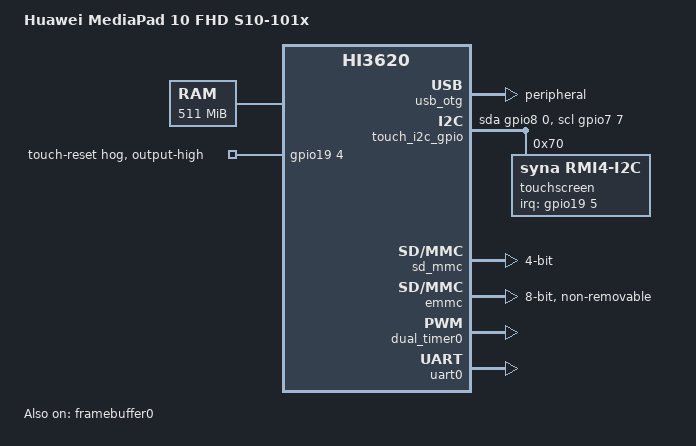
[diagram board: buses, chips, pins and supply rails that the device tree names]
/*
 * Huawei MediaPad 10 FHD S10-101x
 *
 * Initial Linux bring-up device tree for the HiSilicon Hi3620 (K3V2).
 */

/dts-v1/;

#include "hi3620.dtsi"

/ {
	model = "Huawei MediaPad 10 FHD S10-101x";
	compatible = "huawei,s10-101x", "hisilicon,hi3620";

	chosen {
		bootargs = "console=ttyAMA0,115200n8 earlyprintk ignore_loglevel loglevel=8 root=/dev/ram0 rw";
		stdout-path = "serial0:115200n8";
	};

	framebuffer0: framebuffer@2f300000 {
		compatible = "simple-framebuffer";
		reg = <0x2f300000 0x008ca000>;
		width = <1920>;
		height = <1200>;
		stride = <7680>;
		format = "a8r8g8b8";
		status = "okay";
	};

	usb_otg: usb@fd240000 {
		compatible = "snps,dwc2";
		reg = <0xfd240000 0x00040000>;
		interrupt-parent = <&gic>;
		interrupts = <0 52 4>;
		clocks = <&clock HI3620_USB2DVC_CLK>;
		clock-names = "otg";
		dr_mode = "peripheral";
		g-rx-fifo-size = <1024>;
		g-np-tx-fifo-size = <512>;
		g-tx-fifo-size = <256 256 256 256 256 256>;
		status = "okay";
	};

	/* Alternate touchscreen controller/bus variant is not used on this tablet. */
	i2c1: i2c@fcb09000 {
		compatible = "snps,designware-i2c";
		reg = <0xfcb09000 0x1000>;
		interrupt-parent = <&gic>;
		interrupts = <0 29 4>;
		clocks = <&clock HI3620_I2CCLK1>;
		clock-frequency = <100000>;
		#address-cells = <1>;
		#size-cells = <0>;
		status = "disabled";
	};

	/*
	 * Physical I2C2 DesignWare at 0xfcb0c000 is deliberately disabled for
	 * this diagnostic boot.  It accepts the Synaptics page-select bytes into
	 * TX FIFO but never starts the transfer.  The i2c-gpio adapter below uses
	 * the exact same physical wires through GPIO63/GPIO64 instead.
	 */
	i2c2: i2c@fcb0c000 {
		compatible = "snps,designware-i2c";
		reg = <0xfcb0c000 0x1000>;
		interrupt-parent = <&gic>;
		interrupts = <0 62 4>;
		clocks = <&clock HI3620_I2CCLK2>;
		clock-frequency = <100000>;
		#address-cells = <1>;
		#size-cells = <0>;
		status = "disabled";
	};

	/*
	 * Diagnostic software I2C bus:
	 *   SDA = GPIO64 = GPIO8_0
	 *   SCL = GPIO63 = GPIO7_7
	 *
	 * Do not mark either GPIO as hardware-open-drain.  Linux i2c-gpio will
	 * emulate open drain safely by driving low and switching to input for high.
	 * 5 us is the driver's normal ~100 kHz setting.
	 */
	touch_i2c_gpio: i2c-gpio {
		compatible = "i2c-gpio";
		gpios = <&gpio8 0 0>, <&gpio7 7 0>;
		i2c-gpio,delay-us = <5>;
		i2c-gpio,timeout-ms = <100>;
		pinctrl-names = "default";
		pinctrl-0 = <&i2c2_gpio_pins>;
		#address-cells = <1>;
		#size-cells = <0>;
		status = "okay";

		touchscreen@70 {
			compatible = "syna,rmi4-i2c";
			reg = <0x70>;
			interrupt-parent = <&gpio19>;
			interrupts = <5 8>;
			/* Match Huawei vendor RMI4's 100 ms wait before first access. */
			syna,startup-delay-ms = <100>;
		};
	};

	memory@0 {
		device_type = "memory";
		reg = <0x00000000 0x1ff00000>;
	};

	reserved-memory {
		#address-cells = <1>;
		#size-cells = <1>;
		ranges;

		boottrace@1ff00000 {
			reg = <0x1ff00000 0x00001000>;
		};

		ramoops@1ff01000 {
			compatible = "ramoops";
			reg = <0x1ff01000 0x000ff000>;
			record-size = <0x00040000>;
			console-size = <0x00080000>;
			unbuffered;
		};
	};

	mmc_clock: mmc-clock@fc802000 {
		compatible = "hisilicon,hi3620-mmc-clock";
		reg = <0xfc802000 0x1000>;
		#clock-cells = <1>;
	};

	sd_mmc: mmc@fcd03000 {
		compatible = "hisilicon,hi4511-dw-mshc";
		reg = <0xfcd03000 0x1000>;
		interrupt-parent = <&gic>;
		interrupts = <0 16 4>;
		#address-cells = <1>;
		#size-cells = <0>;
		clocks = <&mmc_clock HI3620_SD_CIUCLK>,
			 <&clock HI3620_DDRC_PER_CLK>;
		clock-names = "ciu", "biu";
		num-slots = <1>;
		fifo-depth = <0x100>;
		bus-width = <4>;
		broken-cd;
		disable-wp;
		cap-sd-highspeed;
		status = "okay";
	};

	emmc: mmc@fcd04000 {
		compatible = "hisilicon,hi4511-dw-mshc";
		reg = <0xfcd04000 0x1000>;
		interrupt-parent = <&gic>;
		interrupts = <0 17 4>;
		#address-cells = <1>;
		#size-cells = <0>;
		clocks = <&mmc_clock HI3620_MMC_CIUCLK1>,
			 <&clock HI3620_DDRC_PER_CLK>;
		clock-names = "ciu", "biu";
		num-slots = <1>;
		fifo-depth = <0x100>;
		bus-width = <8>;
		non-removable;
		disable-wp;
		cap-mmc-highspeed;
		status = "okay";
	};
};

&pmx0 {
	/* IOMG26/IOMG27 function 1 routes the former I2C2 pads to PL061 GPIO. */
	i2c2_gpio_pins: i2c2-gpio-pins {
		pinctrl-single,pins = <
			0x068 0x1
			0x06c 0x1
		>;
	};
};

&gpio19 {
	/delete-property/ gpio-ranges;

	touch_reset_hog: touch-reset-hog {
		gpio-hog;
		gpios = <4 0>;
		output-high;
		line-name = "touch-reset";
	};
};

&dual_timer0 {
	status = "okay";
};

&uart0 {
	status = "okay";
};
